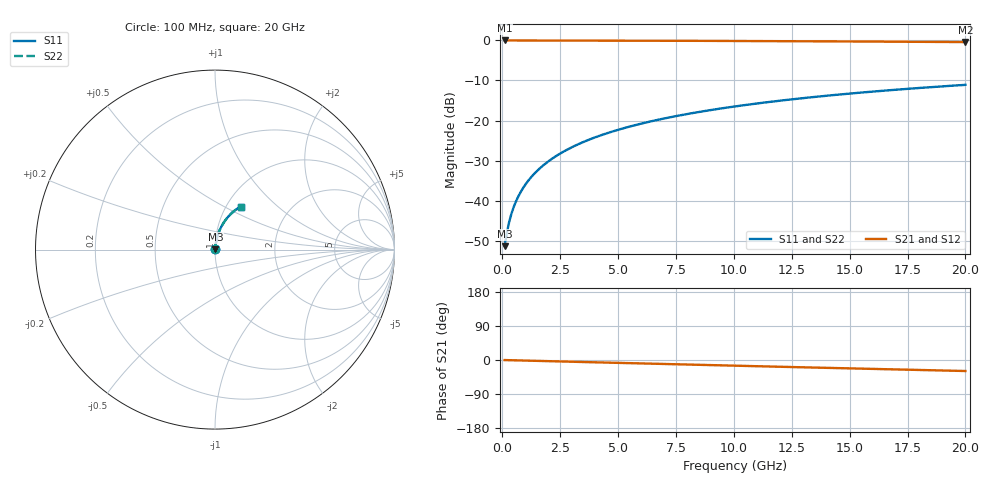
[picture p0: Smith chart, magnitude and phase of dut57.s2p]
! Touchstone file exported from HFSS 2026.1.0
!  File:  C:/ffzhzh/LocalFiles/Ansys_Project_Files/temp_train_TMRDL_57_1782880972_43084.aedt
!  Generated:  12:44:07 PM Jul  1, 2026
!  Design:  TMRDL
!  Project:  temp_train_TMRDL_57_1782880972_43084
! Variables:
!  h_bsmrdl = 2um
!  h_ox = 20um
!  h_rdl = 5um
!  h_sub = 80um
!  h_tmrdl = 3.04um
!  h_tsv = 80um
!  h_via = 3um
!  l_bsmrdl = 300um
!  l_sub = 792.76um
!  l_tmrdl = 392.76um
!  m_sub = 200um
!  pitch = 51.32um
!  r_tsv = 6um
!  s_tmrdl = 10um
!  w_bsmrdl = 18um
!  w_sub = 500um
!  w_tmrdl = 24.75um
!  x_tsv_center1 = 405.135um
!  x_tsv_center2 = 723.135um
!  x_tsv_center3 = 1140.645um
!  x_tsv_center4 = 1458.645um
!  x_tsv_center5 = 1876.155um
!  x_tsv_center6 = 2194.155um
# GHz S MA R 50.000000
! Terminal data exported
! Port[1] = TM_RDL1_1_T1
! Port[2] = TM_RDL1_1_T2
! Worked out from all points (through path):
!   200 points, 100 MHz to 20 GHz, reference 50 ohm
!   highest |S21| = -0.02 dB at 100 MHz (marker M1); lowest = -0.4 dB at 20 GHz (marker M2)
!   group delay of S21, straight-line fit = 4.04 ps
!   lowest |S11| = -51.3 dB at 100 MHz (marker M3), VSWR 1.01, Z = 50.2 + j0.171 ohm
!   |S11| at or under -10 dB: start of sweep to end of sweep
!   |S22| runs from -51.3 to -11.1 dB; largest |S21 - S12| = 3.9e-15
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0.1  0.002717 38.8  0.9979 -0.2  0.9979 -0.2  0.002717 38.8
! Gamma 0 0 0 0
! Port Impedance 50 0 50 0
0.2  0.00403 56.5  0.9978 -0.3  0.9978 -0.3  0.00403 56.5
0.3  0.005493 64.6  0.9977 -0.5  0.9977 -0.5  0.005493 64.6
0.4  0.00698 69.1  0.9976 -0.6  0.9976 -0.6  0.00698 69.1
0.5  0.008468 72.1  0.9975 -0.8  0.9975 -0.8  0.008468 72.1
0.6  0.009958 74.1  0.9974 -0.9  0.9974 -0.9  0.009958 74.1
0.8  0.01295 76.9  0.9973 -1.2  0.9973 -1.2  0.01295 76.9
1.1  0.01747 79.3  0.9971 -1.7  0.9971 -1.7  0.01747 79.3
1.3  0.02051 80.2  0.997 -2.0  0.997 -2.0  0.02051 80.2
1.6  0.02508 81.0  0.9968 -2.4  0.9968 -2.4  0.02507 81.0
2.1  0.03271 81.6  0.9965 -3.2  0.9965 -3.2  0.03271 81.6
2.7  0.04188 81.7  0.9961 -4.1  0.9961 -4.1  0.04188 81.7
3.5  0.05406 81.2  0.9953 -5.3  0.9953 -5.3  0.05406 81.2
4.2  0.06467 80.6  0.9945 -6.4  0.9945 -6.4  0.06467 80.6
5  0.07672 79.6  0.9934 -7.6  0.9934 -7.6  0.07671 79.7
5.9  0.09015 78.5  0.9919 -8.9  0.9919 -8.9  0.09015 78.5
6.8  0.1034 77.3  0.9903 -10.3  0.9903 -10.3  0.1034 77.4
8.3  0.1253 75.3  0.9873 -12.5  0.9873 -12.5  0.1253 75.3
10.1  0.1509 72.8  0.9831 -15.1  0.9831 -15.1  0.1509 72.8
13.4  0.1961 68.3  0.9742 -19.9  0.9742 -19.9  0.1961 68.3
16.7  0.2388 63.8  0.9639 -24.5  0.9639 -24.5  0.2388 63.8
20  0.2789 59.3  0.9526 -29.1  0.9526 -29.1  0.2789 59.4
